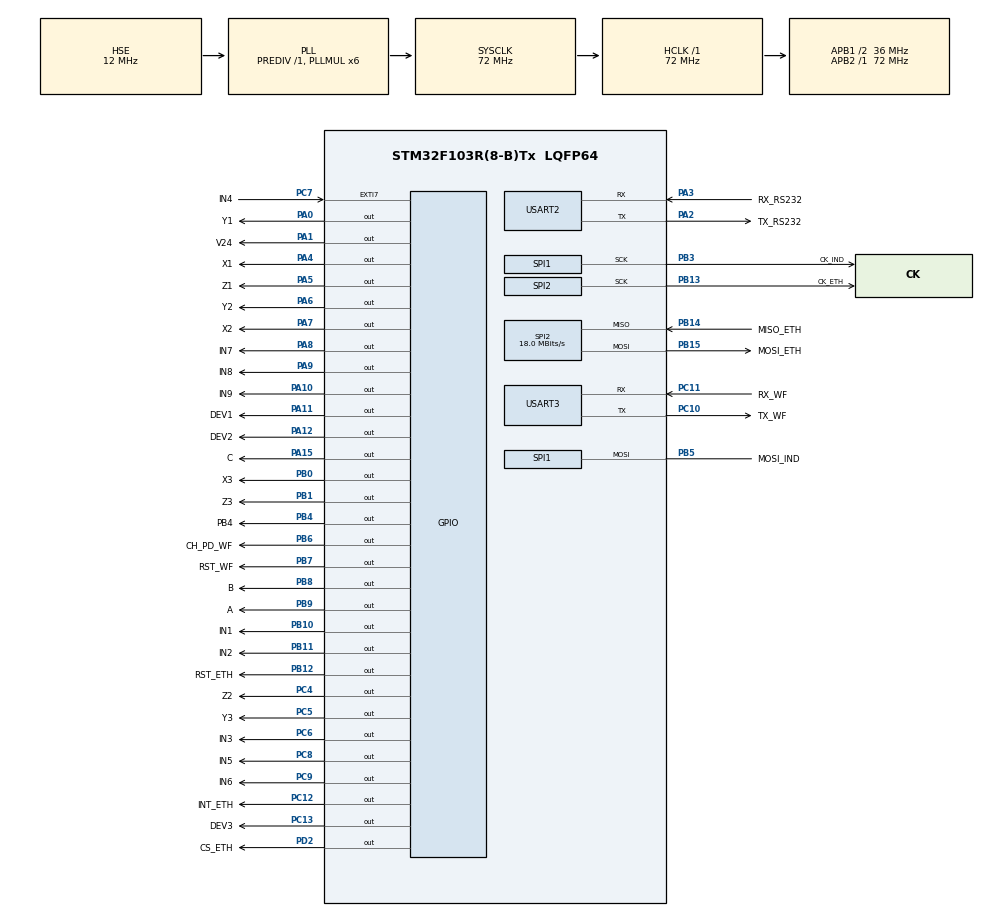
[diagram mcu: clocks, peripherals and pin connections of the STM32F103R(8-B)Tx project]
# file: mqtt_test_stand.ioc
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Dma.Request0=USART3_RX
Dma.USART3_RX.0.Direction=DMA_PERIPH_TO_MEMORY
Dma.USART3_RX.0.Instance=DMA1_Channel3
Dma.USART3_RX.0.MemDataAlignment=DMA_MDATAALIGN_BYTE
Dma.USART3_RX.0.MemInc=DMA_MINC_ENABLE
Dma.USART3_RX.0.Mode=DMA_NORMAL
Dma.USART3_RX.0.PeriphDataAlignment=DMA_PDATAALIGN_BYTE
Dma.USART3_RX.0.PeriphInc=DMA_PINC_DISABLE
Dma.USART3_RX.0.Priority=DMA_PRIORITY_LOW
FREERTOS.Tasks01=defaultTask,0,128,StartDefaultTask,Default,NULL,Dynamic,NULL,NULL
FREERTOS.configUSE_NEWLIB_REENTRANT=1
Mcu.Family=STM32F1
Mcu.Name=STM32F103R(8-B)Tx
Mcu.Package=LQFP64
NVIC.DMA1_Channel3_IRQn=true\:5\:0\:false\:false\:true\:true\:false\:true\:true
NVIC.PriorityGroup=NVIC_PRIORITYGROUP_4
NVIC.TIM1_UP_IRQn=true\:15\:0\:false\:false\:true\:false\:false\:true\:true
NVIC.TIM2_IRQn=true\:5\:0\:true\:false\:true\:true\:true\:true\:true
NVIC.TimeBase=TIM1_UP_IRQn
NVIC.TimeBaseIP=TIM1
NVIC.USART3_IRQn=true\:5\:0\:false\:false\:true\:true\:true\:true\:true
PA0-WKUP.GPIO_Label=Y1
PA0-WKUP.Signal=GPIO_Output
PA1.GPIO_Label=V24
PA1.Signal=GPIO_Output
PA10.GPIO_Label=IN9
PA10.Signal=GPIO_Output
PA11.GPIO_Label=DEV1
PA11.Signal=GPIO_Output
PA12.GPIO_Label=DEV2
PA12.Signal=GPIO_Output
PA13.Mode=Serial_Wire
PA13.Signal=SYS_JTMS-SWDIO
PA14.Mode=Serial_Wire
PA14.Signal=SYS_JTCK-SWCLK
PA15.GPIO_Label=C
PA15.Signal=GPIO_Output
PA2.GPIO_Label=TX_RS232
PA2.Mode=Asynchronous
PA2.Signal=USART2_TX
PA3.GPIO_Label=RX_RS232
PA3.Mode=Asynchronous
PA3.Signal=USART2_RX
PA4.GPIO_Label=X1
PA4.Signal=GPIO_Output
PA5.GPIO_Label=Z1
PA5.Signal=GPIO_Output
PA6.GPIO_Label=Y2
PA6.Signal=GPIO_Output
PA7.GPIO_Label=X2
PA7.Signal=GPIO_Output
PA8.GPIO_Label=IN7
PA8.Signal=GPIO_Output
PA9.GPIO_Label=IN8
PA9.Signal=GPIO_Output
PB0.GPIO_Label=X3
PB0.Signal=GPIO_Output
PB1.GPIO_Label=Z3
PB1.Signal=GPIO_Output
PB10.GPIO_Label=IN1
PB10.Signal=GPIO_Output
PB11.GPIO_Label=IN2
PB11.Signal=GPIO_Output
PB12.GPIO_Label=RST_ETH
PB12.Signal=GPIO_Output
PB13.GPIO_Label=CK_ETH
PB13.Mode=Full_Duplex_Master
PB13.Signal=SPI2_SCK
PB14.GPIO_Label=MISO_ETH
PB14.Mode=Full_Duplex_Master
PB14.Signal=SPI2_MISO
PB15.GPIO_Label=MOSI_ETH
PB15.Mode=Full_Duplex_Master
PB15.Signal=SPI2_MOSI
PB3.GPIO_Label=CK_IND
PB3.Mode=Simplex_Bidirectional_Master
PB3.Signal=SPI1_SCK
PB4.GPIO_Label=PB4
PB4.Signal=GPIO_Output
PB5.GPIO_Label=MOSI_IND
PB5.Mode=Simplex_Bidirectional_Master
PB5.Signal=SPI1_MOSI
PB6.GPIO_Label=CH_PD_WF
PB6.Signal=GPIO_Output
PB7.GPIO_Label=RST_WF
PB7.Signal=GPIO_Output
PB8.GPIO_Label=B
PB8.Signal=GPIO_Output
PB9.GPIO_Label=A
PB9.Signal=GPIO_Output
PC10.GPIO_Label=TX_WF
PC10.Mode=Asynchronous
PC10.Signal=USART3_TX
PC11.GPIO_Label=RX_WF
PC11.Mode=Asynchronous
PC11.Signal=USART3_RX
PC12.GPIO_Label=INT_ETH
PC12.Signal=GPIO_Output
PC13-TAMPER-RTC.GPIO_Label=DEV3
PC13-TAMPER-RTC.Signal=GPIO_Output
PC4.GPIO_Label=Z2
PC4.Signal=GPIO_Output
PC5.GPIO_Label=Y3
PC5.Signal=GPIO_Output
PC6.GPIO_Label=IN3
PC6.Signal=GPIO_Output
PC7.GPIO_Label=IN4
PC7.Signal=GPXTI7
PC8.GPIO_Label=IN5
PC8.Signal=GPIO_Output
PC9.GPIO_Label=IN6
PC9.Signal=GPIO_Output
PD0-OSC_IN.Mode=HSE-External-Oscillator
PD0-OSC_IN.Signal=RCC_OSC_IN
PD1-OSC_OUT.Mode=HSE-External-Oscillator
PD1-OSC_OUT.Signal=RCC_OSC_OUT
PD2.GPIO_Label=CS_ETH
PD2.Signal=GPIO_Output
ProjectManager.HeapSize=0x400
ProjectManager.StackSize=0x800
ProjectManager.TargetToolchain=STM32CubeIDE
RCC.AHBFreq_Value=72000000
RCC.APB1CLKDivider=RCC_HCLK_DIV2
RCC.APB1Freq_Value=36000000
RCC.APB1TimFreq_Value=72000000
RCC.APB2Freq_Value=72000000
RCC.APB2TimFreq_Value=72000000
RCC.HCLKFreq_Value=72000000
RCC.HSE_VALUE=12000000
RCC.PLLMUL=RCC_PLL_MUL6
RCC.PLLSourceVirtual=RCC_PLLSOURCE_HSE
RCC.SYSCLKFreq_VALUE=72000000
RCC.SYSCLKSource=RCC_SYSCLKSOURCE_PLLCLK
RCC.USBFreq_Value=72000000
SPI1.BaudRatePrescaler=SPI_BAUDRATEPRESCALER_4
SPI1.CalculateBaudRate=18.0 MBits/s
SPI1.Direction=SPI_DIRECTION_1LINE
SPI1.Mode=SPI_MODE_MASTER
SPI1.VirtualType=VM_MASTER
SPI2.CalculateBaudRate=18.0 MBits/s
SPI2.Direction=SPI_DIRECTION_2LINES
SPI2.Mode=SPI_MODE_MASTER
SPI2.VirtualType=VM_MASTER
TIM2.Period=500-1
TIM2.Prescaler=7200
USART2.VirtualMode=VM_ASYNC
USART3.VirtualMode=VM_ASYNC
VP_FREERTOS_VS_CMSIS_V1.Mode=CMSIS_V1
VP_SYS_VS_tim1.Mode=TIM1
VP_TIM2_VS_ClockSourceINT.Mode=Internal
board=custom

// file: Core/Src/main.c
/* USER CODE BEGIN Header */
/**
  ******************************************************************************
  * @file           : main.c
  * @brief          : Main program body
  ******************************************************************************
  * @attention
  *
  * Copyright (c) 2022 STMicroelectronics.
  * All rights reserved.
  *
  * This software is licensed under terms that can be found in the LICENSE file
  * in the root directory of this software component.
  * If no LICENSE file comes with this software, it is provided AS-IS.
  *
  ******************************************************************************
  */
/* USER CODE END Header */
#include "main.h"
#include "cmsis_os.h"
#include "dma.h"
#include "spi.h"
#include "tim.h"
#include "usart.h"
#include "gpio.h"

/* USER CODE BEGIN Includes */
#include "esp8266.h"
#include "mqttclient.h"
#include "MQTTPacket.h"
#include "esp8266.h"
#include "lwip/init.h"
#include "lwip/netif.h"
#include "lwip/timeouts.h"
#include "netif/etharp.h"
/* USER CODE END Includes */

/* USER CODE BEGIN PV */
uint8_t retry_count = 0;
/* USER CODE END PV */

void SystemClock_Config(void);
void MX_FREERTOS_Init(void);

/* USER CODE BEGIN 0 */
extern void initialise_monitor_handles(void);
/* USER CODE END 0 */

int main(void)
{
  /* USER CODE BEGIN 1 */
скач	initialise_monitor_handles();
  /* USER CODE END 1 */

  /* MCU Configuration--------------------------------------------------------*/

  /* Reset of all peripherals, Initializes the Flash interface and the Systick. */
  HAL_Init();

  /* Configure the system clock */
  SystemClock_Config();

  /* Initialize all configured peripherals */
  MX_GPIO_Init();
  MX_DMA_Init();
  MX_TIM2_Init();
  MX_SPI1_Init();
  MX_SPI2_Init();
  MX_USART3_UART_Init();
  MX_USART2_UART_Init();
  /* USER CODE BEGIN 2 */
	printf("(DBG:) System Enable!\r\n");
	//LED_Blink(3, 200, LED_Final_Off);
  /* USER CODE END 2 */

  /* Call init function for freertos objects (in freertos.c) */
  //MX_FREERTOS_Init();

  /* Start scheduler */
  //osKernelStart();

  /* We should never get here as control is now taken by the scheduler */
  /* Infinite loop */
  /* USER CODE BEGIN WHILE */
  while (1)
  {
	  if (esp8266_SetUpTCPConnection() == _SUCCEED) { //ЕСЛ�? ПОДКЛЮЧЕН�?Е К СЕРВЕРУ УСПЕШНО ТО СЧЁТЧ�?К СБРАСЫВАЕТ, �?НАЧЕ МЕРЦАЕТ СВЕТОД�?ОД �? УВЕЛ ЗНАЧ. СЧЁТЧ�?КА
	  			retry_count = 0;
	  			break;
	  		}
	  		//LED_Blink(3, 200, LED_Final_Off);
	  		retry_count++;
	  		if (retry_count >= 10) { // ЕСЛ�? ЗНАЧЕН�?Е СЧЕТЧ�?КА ПРЕВЫС�?Л�? 10, ТО ОТПРАВ�?ТЬ СООБЩЕН�?Е В КОНСОЛЬ
	  			printf("(DBG:) esp8266 ПОДКЛЮЧЕН�?Е К СЕРВЕРУ ОТКЛОНЕНО\r\n");
	  			//LED_On();
	  			break;
	  		}
	  	}

	  	if (mqtt_ConnectServer() != 1) {
	  		printf("(DBG:) ПОДКЛЮЧЕН�?Е К MQTT СЕРВЕРУ ОТКЛОНЕНО\r\n");
	  		//LED_On();
	  	}

	  	while (1) {
    /* USER CODE END WHILE */

  }
}

void SystemClock_Config(void)
{
  RCC_OscInitTypeDef RCC_OscInitStruct = {0};
  RCC_ClkInitTypeDef RCC_ClkInitStruct = {0};

  /** Initializes the RCC Oscillators according to the specified parameters
  * in the RCC_OscInitTypeDef structure.
  */
  RCC_OscInitStruct.OscillatorType = RCC_OSCILLATORTYPE_HSE;
  RCC_OscInitStruct.HSEState = RCC_HSE_ON;
  RCC_OscInitStruct.HSEPredivValue = RCC_HSE_PREDIV_DIV1;
  RCC_OscInitStruct.HSIState = RCC_HSI_ON;
  RCC_OscInitStruct.PLL.PLLState = RCC_PLL_ON;
  RCC_OscInitStruct.PLL.PLLSource = RCC_PLLSOURCE_HSE;
  RCC_OscInitStruct.PLL.PLLMUL = RCC_PLL_MUL6;
  if (HAL_RCC_OscConfig(&RCC_OscInitStruct) != HAL_OK)
  {
    Error_Handler();
  }

  /** Initializes the CPU, AHB and APB buses clocks
  */
  RCC_ClkInitStruct.ClockType = RCC_CLOCKTYPE_HCLK|RCC_CLOCKTYPE_SYSCLK
                              |RCC_CLOCKTYPE_PCLK1|RCC_CLOCKTYPE_PCLK2;
  RCC_ClkInitStruct.SYSCLKSource = RCC_SYSCLKSOURCE_PLLCLK;
  RCC_ClkInitStruct.AHBCLKDivider = RCC_SYSCLK_DIV1;
  RCC_ClkInitStruct.APB1CLKDivider = RCC_HCLK_DIV2;
  RCC_ClkInitStruct.APB2CLKDivider = RCC_HCLK_DIV1;

  if (HAL_RCC_ClockConfig(&RCC_ClkInitStruct, FLASH_LATENCY_2) != HAL_OK)
  {
    Error_Handler();
  }
}

void HAL_TIM_PeriodElapsedCallback(TIM_HandleTypeDef *htim)
{
  if (htim->Instance == TIM1) {
    HAL_IncTick();
  }
}

void Error_Handler(void)
{
  __disable_irq();
  while (1)
  {
  }
}
